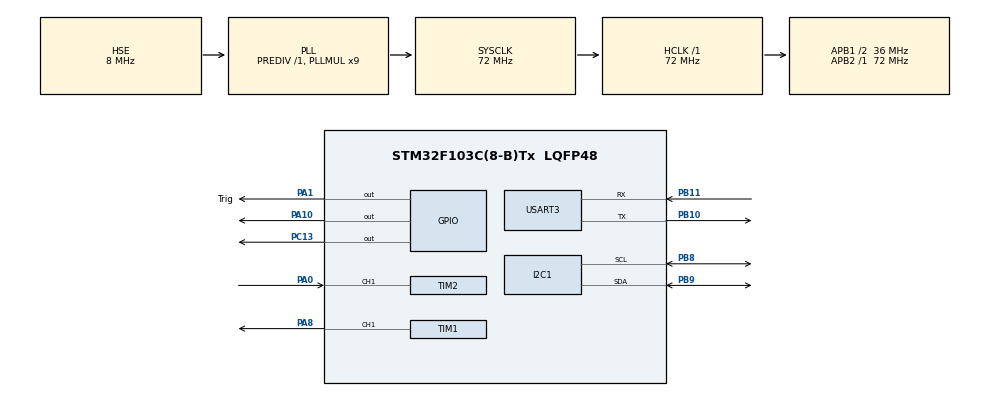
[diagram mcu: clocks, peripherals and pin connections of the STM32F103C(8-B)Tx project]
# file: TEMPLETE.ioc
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Mcu.Family=STM32F1
Mcu.Name=STM32F103C(8-B)Tx
Mcu.Package=LQFP48
NVIC.PriorityGroup=NVIC_PRIORITYGROUP_4
NVIC.TIM2_IRQn=true\:0\:0\:false\:false\:true\:true\:true\:true
PA0-WKUP.Signal=S_TIM2_CH1_ETR
PA1.GPIO_Label=Trig
PA1.GPIO_PuPd=GPIO_PULLUP
PA1.GPIO_Speed=GPIO_SPEED_FREQ_HIGH
PA1.Signal=GPIO_Output
PA10.Signal=GPIO_Output
PA13.Mode=Serial_Wire
PA13.Signal=SYS_JTMS-SWDIO
PA14.Mode=Serial_Wire
PA14.Signal=SYS_JTCK-SWCLK
PA8.Signal=S_TIM1_CH1
PB10.Mode=Asynchronous
PB10.Signal=USART3_TX
PB11.Mode=Asynchronous
PB11.Signal=USART3_RX
PB8.GPIO_Pu=GPIO_PULLUP
PB8.Mode=I2C
PB8.Signal=I2C1_SCL
PB9.GPIO_Pu=GPIO_PULLUP
PB9.Mode=I2C
PB9.Signal=I2C1_SDA
PC13-TAMPER-RTC.Signal=GPIO_Output
PC14-OSC32_IN.Mode=LSE-External-Oscillator
PC14-OSC32_IN.Signal=RCC_OSC32_IN
PC15-OSC32_OUT.Mode=LSE-External-Oscillator
PC15-OSC32_OUT.Signal=RCC_OSC32_OUT
PD0-OSC_IN.Mode=HSE-External-Oscillator
PD0-OSC_IN.Signal=RCC_OSC_IN
PD1-OSC_OUT.Mode=HSE-External-Oscillator
PD1-OSC_OUT.Signal=RCC_OSC_OUT
ProjectManager.HeapSize=0x200
ProjectManager.StackSize=0x400
ProjectManager.TargetToolchain=Makefile
RCC.AHBFreq_Value=72000000
RCC.APB1CLKDivider=RCC_HCLK_DIV2
RCC.APB1Freq_Value=36000000
RCC.APB1TimFreq_Value=72000000
RCC.APB2Freq_Value=72000000
RCC.APB2TimFreq_Value=72000000
RCC.HCLKFreq_Value=72000000
RCC.PLLMUL=RCC_PLL_MUL9
RCC.PLLSourceVirtual=RCC_PLLSOURCE_HSE
RCC.SYSCLKFreq_VALUE=72000000
RCC.SYSCLKSource=RCC_SYSCLKSOURCE_PLLCLK
RCC.USBFreq_Value=72000000
SH.S_TIM1_CH1.0=TIM1_CH1,PWM Generation1 CH1
SH.S_TIM2_CH1_ETR.0=TIM2_CH1,Input_Capture1_from_TI1
TIM1.Channel-PWM\ Generation1\ CH1=TIM_CHANNEL_1
TIM2.Channel-Input_Capture1_from_TI1=TIM_CHANNEL_1
TIM2.Prescaler=71
USART3.VirtualMode=VM_ASYNC
board=custom

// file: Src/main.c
/* USER CODE BEGIN Header */
/**
 ******************************************************************************
 * @file           : main.c
 * @brief          : Main program body
 ******************************************************************************
 * @attention
 *
 * <h2><center>&copy; Copyright (c) 2022 STMicroelectronics.
 * All rights reserved.</center></h2>
 *
 * This software component is licensed by ST under BSD 3-Clause license,
 * the "License"; You may not use this file except in compliance with the
 * License. You may obtain a copy of the License at:
 *                        opensource.org/licenses/BSD-3-Clause
 *
 * @update 2022.8.4
 * @author Lanpengli
 * @GPIO_definition  I2C[OLED]:SDA->B9  SCL->B8
 *                   SR04:Trig->A1  Echo->A0
 * @email  2931628612@qq.com
 ******************************************************************************
 */
/* USER CODE END Header */
#include "main.h"
#include "i2c.h"
#include "tim.h"
#include "usart.h"
#include "gpio.h"

/* USER CODE BEGIN Includes */
#include "oled.h"
#include "SR04.h"
#include "fonts.h"
#include "ssd1306.h"
/* USER CODE END Includes */

void SystemClock_Config(void);

int main(void)
{

  /* MCU Configuration--------------------------------------------------------*/

  /* Reset of all peripherals, Initializes the Flash interface and the Systick. */
  HAL_Init();

  /* Configure the system clock */
  SystemClock_Config();

  /* Initialize all configured peripherals */
  MX_GPIO_Init();
  MX_I2C1_Init();
  MX_TIM1_Init();
  MX_USART3_UART_Init();
  MX_TIM2_Init();
  /* USER CODE BEGIN 2 */
  MX_TIM2_Init();
  MX_USART3_UART_Init();

  OLED_Init();
  OLED_Clear();
  // OLED_ShowString(0,0,"what is love!",32);
  OLED_ShowChar(16, 4, 76, 12);
  OLED_ShowChar(32, 4, 79, 12);
  OLED_ShowChar(48, 4, 86, 12);
  OLED_ShowChar(64, 4, 69, 32);
  // OLED_ShowCHinese(0,4,0);//
  // OLED_ShowCHinese(16,4,1);//766
  // OLED_ShowCHinese(32,4,2);//
  // OLED_ShowCHinese(48,4,6);//
  // OLED_ShowCHinese(0,6,3);//
  // OLED_ShowCHinese(16,6,4);//
  // OLED_ShowCHinese(32,6,5);//
  // OLED_ShowCHinese(48,6,6);//

  FontDef_t *ft;
  ft->FontHeight = 10;
  ft->FontWidth = 7;

  /* USER CODE END 2 */

  /* Infinite loop */
  while (1)
  {

    /* USER CODE BEGIN 3 */
    // SSD1306_DrawLine(0,0,1280,640,1);

    SR04_GetData();
    // SSD1306_Puts(dis,ft,SSD1306_COLOR_BLACK);
    HAL_Delay(50);
    // SSD1306_UpdateScreen();
  }
  /* USER CODE END 3 */
}

void SystemClock_Config(void)
{
  RCC_OscInitTypeDef RCC_OscInitStruct = {0};
  RCC_ClkInitTypeDef RCC_ClkInitStruct = {0};

  /** Initializes the RCC Oscillators according to the specified parameters
   * in the RCC_OscInitTypeDef structure.
   */
  RCC_OscInitStruct.OscillatorType = RCC_OSCILLATORTYPE_HSE;
  RCC_OscInitStruct.HSEState = RCC_HSE_ON;
  RCC_OscInitStruct.HSEPredivValue = RCC_HSE_PREDIV_DIV1;
  RCC_OscInitStruct.HSIState = RCC_HSI_ON;
  RCC_OscInitStruct.PLL.PLLState = RCC_PLL_ON;
  RCC_OscInitStruct.PLL.PLLSource = RCC_PLLSOURCE_HSE;
  RCC_OscInitStruct.PLL.PLLMUL = RCC_PLL_MUL9;
  if (HAL_RCC_OscConfig(&RCC_OscInitStruct) != HAL_OK)
  {
    Error_Handler();
  }

  /** Initializes the CPU, AHB and APB buses clocks
   */
  RCC_ClkInitStruct.ClockType = RCC_CLOCKTYPE_HCLK | RCC_CLOCKTYPE_SYSCLK | RCC_CLOCKTYPE_PCLK1 | RCC_CLOCKTYPE_PCLK2;
  RCC_ClkInitStruct.SYSCLKSource = RCC_SYSCLKSOURCE_PLLCLK;
  RCC_ClkInitStruct.AHBCLKDivider = RCC_SYSCLK_DIV1;
  RCC_ClkInitStruct.APB1CLKDivider = RCC_HCLK_DIV2;
  RCC_ClkInitStruct.APB2CLKDivider = RCC_HCLK_DIV1;

  if (HAL_RCC_ClockConfig(&RCC_ClkInitStruct, FLASH_LATENCY_2) != HAL_OK)
  {
    Error_Handler();
  }
}

void Error_Handler(void)
{
}
